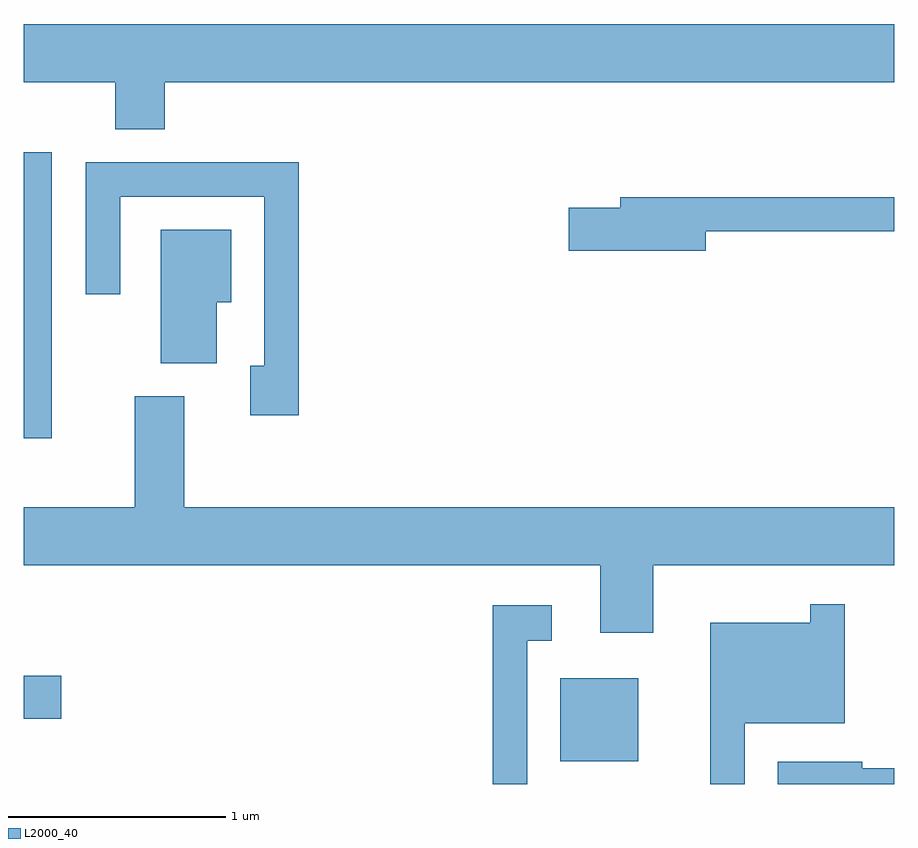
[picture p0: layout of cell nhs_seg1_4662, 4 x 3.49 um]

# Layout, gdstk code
import gdstk
lib = gdstk.Library(unit=1e-6, precision=1e-09)
def R(c, l, rs):  # rectangles x0, y0, x1, y1
    for r in rs: c.add(gdstk.rectangle(r[:2], r[2:], *l))
def P(c, l, *ps):  # polygons
    for p in ps: c.add(gdstk.Polygon(p, *l))
L2000_40 = (2000, 40)

nhs_seg1_4662 = lib.new_cell('nhs_seg1_4662')
R(nhs_seg1_4662, L2000_40, [(328.076,869.816,328.434,870.199), (325.611,870.011,325.784,870.209), (325.611,871.301,325.739,872.614)])
P(nhs_seg1_4662, L2000_40, [(326.259,872.936),(329.611,872.936),(329.611,873.204),(325.611,873.204),(325.611,872.936),(326.031,872.936),(326.031,872.721),(326.259,872.721)],
  [(326.874,872.569),(325.896,872.569),(325.896,871.963),(326.054,871.963),(326.054,872.411),(326.716,872.411),(326.716,871.634),(326.651,871.634),(326.651,871.406),(326.874,871.406)],
  [(328.744,872.251),(329.611,872.251),(329.611,872.409),(328.351,872.409),(328.351,872.359),(328.116,872.359),(328.116,872.161),(328.744,872.161)],
  [(326.499,871.926),(326.564,871.926),(326.564,872.259),(326.241,872.259),(326.241,871.646),(326.499,871.646)],
  [(328.504,870.716),(329.611,870.716),(329.611,870.984),(326.349,870.984),(326.349,871.494),(326.121,871.494),(326.121,870.984),(325.611,870.984),(325.611,870.716),(328.261,870.716),(328.261,870.406),(328.504,870.406)],
  [(328.924,869.991),(329.384,869.991),(329.384,870.538),(329.226,870.538),(329.226,870.454),(328.766,870.454),(328.766,869.712),(328.924,869.712)],
  [(327.924,870.371),(328.038,870.371),(328.038,870.534),(327.766,870.534),(327.766,869.712),(327.924,869.712)],
  [(329.611,869.784),(329.464,869.784),(329.464,869.814),(329.076,869.814),(329.076,869.712),(329.611,869.712)])

lib.write_gds('nhs_seg1_4662.gds')
